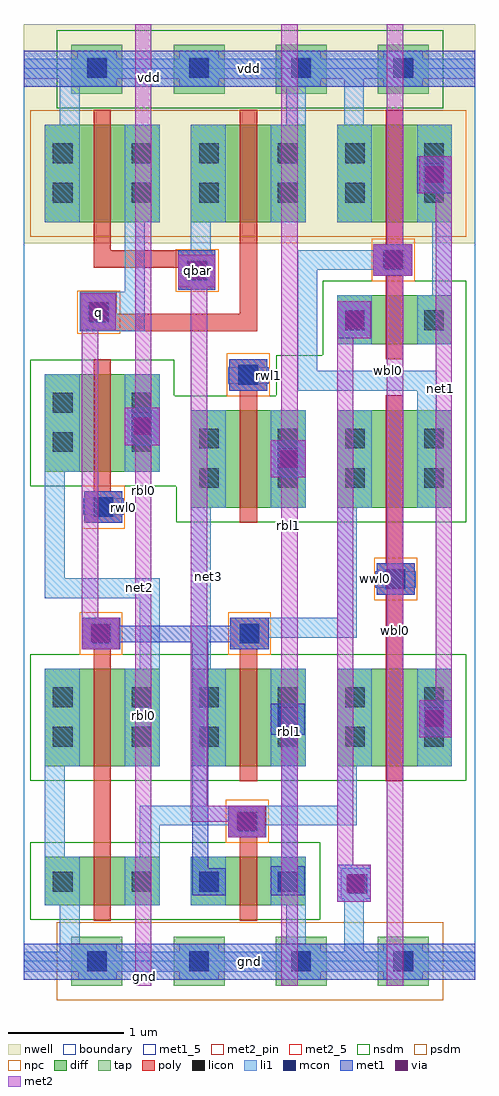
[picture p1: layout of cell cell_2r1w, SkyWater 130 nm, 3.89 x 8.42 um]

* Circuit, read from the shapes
.subckt cell_2r1w gnd net1 net2 net3 q qbar rbl0 rbl1 rwl0 rwl1 vdd wbl0 wwl0
XM1 qbar q gnd gnd sky130_fd_pr__nfet_01v8 w=0.42 l=0.15
XM2 net2 q gnd gnd sky130_fd_pr__nfet_01v8 w=0.84 l=0.15
XM3 rbl0 rwl0 net2 gnd sky130_fd_pr__nfet_01v8 w=0.84 l=0.15
XM4 gnd qbar q gnd sky130_fd_pr__nfet_01v8 w=0.42 l=0.15
XM5 gnd q net3 gnd sky130_fd_pr__nfet_01v8 w=0.84 l=0.15
XM6 rbl1 rwl1 net3 gnd sky130_fd_pr__nfet_01v8 w=0.84 l=0.15
XM7 net1 wwl0 qbar gnd sky130_fd_pr__nfet_01v8 w=0.84 l=0.15
XM8 wbl0 wwl0 q gnd sky130_fd_pr__nfet_01v8 w=0.84 l=0.15
XM9 net1 wbl0 gnd gnd sky130_fd_pr__nfet_01v8 w=0.42 l=0.15
XM10 q qbar vdd vdd sky130_fd_pr__pfet_01v8 w=0.84 l=0.15
XM11 vdd q qbar vdd sky130_fd_pr__pfet_01v8 w=0.84 l=0.15
XM12 net1 wbl0 vdd vdd sky130_fd_pr__pfet_01v8 w=0.84 l=0.15
.ends

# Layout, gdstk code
import gdstk
lib = gdstk.Library(unit=1e-6, precision=1e-09)
def R(c, l, rs):  # rectangles x0, y0, x1, y1
    for r in rs: c.add(gdstk.rectangle(r[:2], r[2:], *l))
def A(c, l, x, y, w, h, nx, ny, dx, dy):  # array of equal rectangles
    R(c, l, [(x+i*dx, y+j*dy, x+i*dx+w, y+j*dy+h) for i in range(nx) for j in range(ny)])
nwell = (64, 20)
diff = (65, 20)
tap = (65, 44)
poly = (66, 20)
licon = (66, 44)
li1 = (67, 20)
mcon = (67, 44)
met1_5 = (68, 5)
met1 = (68, 20)
via = (68, 44)
met2_5 = (69, 5)
met2_pin = (69, 16)
met2 = (69, 20)
nsdm = (93, 44)
psdm = (94, 20)
npc = (95, 20)
boundary = (235, 4)

cell_2r1w = lib.new_cell('cell_2r1w')
R(cell_2r1w, nwell, [(0,6.19,3.89,8.08)])
A(cell_2r1w, diff, 0.18, 1.68, 0.99, 0.84, 3, 2, 1.26, 4.69)
R(cell_2r1w, diff, [(0.18,0.48,1.17,0.9), (1.44,0.48,2.43,0.9), (1.44,3.91,2.43,4.75), (2.7,3.91,3.69,4.75), (0.18,4.22,1.17,5.06), (2.7,5.32,3.69,5.74)])
A(cell_2r1w, tap, 0.41, -0.21, 0.44, 0.42, 4, 2, 0.88, 7.69)
R(cell_2r1w, poly, [(0.6,0.35,0.75,2.69), (1.86,0.35,2.01,1.07), (1.76,1.07,2.09,1.34), (1.86,1.55,2.01,2.69), (3.12,1.55,3.27,3.16), (0.5,2.69,0.83,2.96), (1.78,2.69,2.11,2.96), (3.04,3.16,3.37,3.43), (3.12,3.43,3.27,4.88), (0.52,3.78,0.85,4.05), (1.86,3.78,2.01,4.92), (0.6,4.05,0.75,5.19), (1.77,4.92,2.1,5.19), (3.12,5.19,3.27,5.91), (0.48,5.43,2.01,5.58), (0.48,5.58,0.8,5.77), (1.86,5.58,2.01,7.34), (1.33,5.79,1.65,5.98), (3.01,5.91,3.35,6.18), (0.6,5.98,1.65,6.13), (0.6,6.13,0.75,7.34), (3.12,6.18,3.27,7.34)])
A(cell_2r1w, licon, 0.545, -0.085, 0.17, 0.17, 4, 2, 0.88, 7.7)
R(cell_2r1w, licon, [(0.25,0.6,0.42,0.77), (0.93,0.6,1.1,0.77), (1.51,0.6,1.68,0.77), (2.19,0.6,2.36,0.77), (1.84,1.12,2.01,1.29), (0.25,1.85,0.42,2.02), (0.93,1.85,1.1,2.02), (1.51,1.85,1.68,2.02), (2.19,1.85,2.36,2.02), (2.77,1.85,2.94,2.02), (3.45,1.85,3.62,2.02), (0.25,2.19,0.42,2.36), (0.93,2.19,1.1,2.36), (1.51,2.19,1.68,2.36), (2.19,2.19,2.36,2.36), (2.77,2.19,2.94,2.36), (3.45,2.19,3.62,2.36), (0.58,2.74,0.75,2.91), (1.86,2.74,2.03,2.91), (3.12,3.21,3.29,3.38), (0.6,3.83,0.77,4), (1.51,4.08,1.68,4.25), (2.19,4.08,2.36,4.25), (2.77,4.08,2.94,4.25), (3.45,4.08,3.62,4.25), (0.25,4.39,0.42,4.56), (0.93,4.39,1.1,4.56), (1.51,4.42,1.68,4.59), (2.19,4.42,2.36,4.59), (2.77,4.42,2.94,4.59), (3.45,4.42,3.62,4.59), (0.25,4.73,0.42,4.9), (0.93,4.73,1.1,4.9), (1.85,4.97,2.02,5.14), (2.77,5.44,2.94,5.61), (3.45,5.44,3.62,5.61), (0.56,5.51,0.73,5.68), (1.41,5.87,1.58,6.04), (3.1,5.96,3.27,6.13), (0.25,6.54,0.42,6.71), (0.93,6.54,1.1,6.71), (1.51,6.54,1.68,6.71), (2.19,6.54,2.36,6.71), (2.77,6.54,2.94,6.71), (3.45,6.54,3.62,6.71), (0.25,6.88,0.42,7.05), (0.93,6.88,1.1,7.05), (1.51,6.88,1.68,7.05), (2.19,6.88,2.36,7.05), (2.77,6.88,2.94,7.05), (3.45,6.88,3.62,7.05)])
A(cell_2r1w, li1, 1.34, -0.16, 0.34, 0.07, 3, 2, 0.88, 0.24)
A(cell_2r1w, li1, 1.34, 7.54, 0.34, 0.07, 3, 1, 0.88, 0)
A(cell_2r1w, li1, 0.46, 7.78, 0.34, 0.07, 4, 1, 0.88, 0)
R(cell_2r1w, li1, [(0.47,-0.16,0.8,-0.09), (0,-0.09,3.89,0.08), (0.31,0.08,0.8,0.15), (2.76,0.08,2.93,0.54), (0.31,0.15,0.48,0.48), (2.26,0.15,2.43,0.48), (0.18,0.48,0.48,0.9), (0.87,0.48,1.17,0.9), (1.44,0.48,1.74,0.9), (2.13,0.48,2.43,0.9), (2.73,0.54,2.99,0.8), (0.18,0.9,0.35,1.68), (1,0.9,1.17,1.17), (1.76,1.07,2.09,1.17), (1,1.17,2.87,1.34), (2.7,1.34,2.87,1.68), (0.18,1.68,0.48,2.52), (0.87,1.68,1.17,2.52), (1.44,1.68,1.74,2.52), (2.13,1.68,2.43,2.52), (2.7,1.68,3,2.52), (3.39,1.68,3.69,2.52), (1,2.52,1.17,3.13), (1.44,2.52,1.61,3.91), (0.5,2.69,0.83,2.96), (1.78,2.69,2.11,2.79), (1.78,2.79,2.87,2.96), (2.7,2.96,2.87,3.91), (0.18,3.13,1.17,3.3), (3.04,3.16,3.37,3.43), (0.18,3.3,0.35,4.22), (0.52,3.78,0.85,4.05), (1.44,3.91,1.74,4.75), (2.13,3.91,2.43,4.75), (2.7,3.91,3,4.75), (3.39,3.91,3.69,4.75), (0.18,4.22,0.48,5.06), (0.87,4.22,1.17,5.06), (3.39,4.75,3.56,4.92), (1.77,4.92,2.1,5.19), (2.36,4.92,3.56,5.09), (2.36,5.09,2.53,5.96), (2.7,5.32,3,5.74), (3.39,5.32,3.69,5.74), (0.48,5.43,1.04,5.77), (3.52,5.74,3.69,6.37), (0.87,5.77,1.04,6.37), (1.33,5.79,1.65,6.13), (3.01,5.91,3.35,5.96), (2.36,5.96,3.35,6.13), (1.44,6.13,1.61,6.37), (3.01,6.13,3.35,6.18), (0.18,6.37,0.48,7.21), (0.87,6.37,1.17,7.21), (1.44,6.37,1.74,7.21), (2.13,6.37,2.43,7.21), (2.7,6.37,3,7.21), (3.39,6.37,3.69,7.21), (0.31,7.21,0.48,7.54), (2.26,7.21,2.43,7.54), (2.76,7.21,2.93,7.61), (0.31,7.54,0.8,7.61), (0,7.61,3.89,7.78)])
A(cell_2r1w, mcon, 0.545, -0.085, 0.17, 0.17, 4, 2, 0.88, 7.7)
R(cell_2r1w, mcon, [(2.79,0.58,2.96,0.75), (1.51,0.6,1.68,0.77), (2.19,0.6,2.36,0.77), (1.84,1.12,2.01,1.29), (2.19,2.02,2.36,2.19), (3.45,2.02,3.62,2.19), (0.58,2.74,0.75,2.91), (1.86,2.74,2.03,2.91), (3.12,3.21,3.29,3.38), (0.6,3.83,0.77,4), (2.19,4.25,2.36,4.42), (0.93,4.56,1.1,4.73), (1.85,4.97,2.02,5.14), (2.77,5.44,2.94,5.61), (0.56,5.51,0.73,5.68), (1.41,5.87,1.58,6.04), (3.1,5.96,3.27,6.13), (3.45,6.71,3.62,6.88)])
R(cell_2r1w, met1_5, [(0,-0.16,3.89,0.15), (3.03,3.22,3.38,3.36), (0.51,3.85,0.86,3.99), (1.76,4.98,2.11,5.12), (0,7.54,3.89,7.85)])
R(cell_2r1w, met1, [(0,-0.16,3.89,0.15), (0,-0.16,3.89,0.15), (2.7,0.51,2.99,0.83), (1.45,0.57,1.74,0.8), (2.13,0.57,2.42,0.82), (1.45,0.8,1.59,2.75), (2.22,0.82,2.36,1.95), (1.76,1.07,2.08,1.34), (3.41,1.93,3.69,2.25), (2.13,1.95,2.42,2.22), (0.5,2.69,0.83,2.75), (1.78,2.69,2.11,2.75), (0.5,2.75,2.11,2.89), (0.5,2.89,0.83,2.96), (1.78,2.89,2.11,2.96), (3.04,3.16,3.37,3.22), (3.03,3.22,3.38,3.36), (3.03,3.22,3.38,3.36), (3.04,3.36,3.37,3.43), (0.52,3.78,0.85,3.85), (0.51,3.85,0.86,3.99), (0.51,3.85,0.86,3.99), (0.52,3.99,0.85,4.05), (2.13,4.17,2.43,4.49), (0.87,4.45,1.17,4.77), (1.77,4.92,2.1,4.98), (1.76,4.98,2.11,5.12), (1.76,4.98,2.11,5.12), (1.77,5.12,2.1,5.19), (2.7,5.37,2.99,5.69), (0.49,5.44,0.79,5.76), (1.33,5.79,1.65,6.13), (3.01,5.91,3.35,6.18), (3.39,6.62,3.69,6.94), (0,7.54,3.89,7.85), (0,7.54,3.89,7.85)])
R(cell_2r1w, via, [(2.785,0.595,2.935,0.745), (1.845,1.135,1.995,1.285), (3.465,2.015,3.615,2.165), (0.585,2.755,0.735,2.905), (2.205,4.255,2.355,4.405), (0.945,4.535,1.095,4.685), (2.775,5.455,2.925,5.605), (0.565,5.525,0.715,5.675), (1.415,5.885,1.565,6.035), (3.115,5.975,3.265,6.125), (3.465,6.705,3.615,6.855)])
R(cell_2r1w, met2_5, [(0.96,-0.21,1.1,4.45), (2.22,-0.21,2.36,4.17), (3.13,-0.21,3.27,5.91)])
R(cell_2r1w, met2_pin, [(0.56,5.51,0.73,5.68), (1.41,5.87,1.58,6.04)])
R(cell_2r1w, met2, [(0.96,-0.21,1.1,4.45), (0.96,-0.21,1.1,4.45), (2.22,-0.21,2.36,4.17), (2.22,-0.21,2.36,4.17), (3.13,-0.21,3.27,5.91), (3.13,-0.21,3.27,5.91), (2.7,0.51,2.99,0.83), (2.7,0.83,2.84,5.37), (1.76,1.07,2.08,1.2), (1.44,1.2,2.08,1.34), (1.44,1.34,1.58,5.81), (3.41,1.93,3.69,2.25), (3.55,2.25,3.69,6.62), (0.5,2.69,0.82,2.96), (0.5,2.96,0.64,5.44), (2.13,4.17,2.43,4.49), (0.87,4.45,1.17,4.77), (2.22,4.49,2.36,8.08), (0.96,4.77,1.1,8.08), (2.7,5.37,2.99,5.69), (0.49,5.44,0.79,5.76), (1.33,5.81,1.65,6.09), (3.01,5.91,3.35,6.18), (3.13,6.18,3.27,8.08), (3.41,6.62,3.69,6.94)])
R(cell_2r1w, nsdm, [(0.055,0.355,2.555,1.025), (0.055,1.555,3.815,2.645), (1.315,3.785,3.815,4.095), (0.055,4.095,3.815,4.875), (0.055,4.875,1.295,5.185), (2.175,4.875,3.815,5.225), (2.575,5.225,3.815,5.865), (0.285,7.355,3.615,8.025)])
R(cell_2r1w, psdm, [(0.285,-0.335,3.615,0.335), (0.055,6.245,3.815,7.335)])
R(cell_2r1w, npc, [(1.74,1.02,2.11,1.39), (0.48,2.64,0.85,3.01), (1.76,2.64,2.13,3.01), (3.02,3.11,3.39,3.48), (0.5,3.73,0.87,4.1), (1.75,4.87,2.12,5.24), (0.46,5.41,0.83,5.78), (1.31,5.77,1.68,6.14), (3,5.86,3.37,6.23)])
R(cell_2r1w, boundary, [(0,0,3.89,7.7)])
cell_2r1w.add(gdstk.Label('qbar', (1.495,5.955), layer=69, texttype=16))
cell_2r1w.add(gdstk.Label('net1', (3.59,4.94), layer=69, texttype=16))
cell_2r1w.add(gdstk.Label('net2', (1,3.22), layer=67, texttype=16))
cell_2r1w.add(gdstk.Label('net3', (1.59,3.32), layer=67, texttype=16))
cell_2r1w.add(gdstk.Label('q', (0.645,5.595), layer=69, texttype=16))
cell_2r1w.add(gdstk.Label('vdd', (1.08,7.62), layer=68, texttype=5))
cell_2r1w.add(gdstk.Label('gnd', (1.04,-0.13), layer=68, texttype=5))
cell_2r1w.add(gdstk.Label('rbl0', (1.03,4.06), layer=69, texttype=5))
cell_2r1w.add(gdstk.Label('rbl1', (2.28,3.76), layer=69, texttype=5))
cell_2r1w.add(gdstk.Label('wbl0', (3.14,5.09), layer=69, texttype=5))
cell_2r1w.add(gdstk.Label('wwl0', (3.03,3.3), layer=68, texttype=5))
cell_2r1w.add(gdstk.Label('rwl1', (2.11,5.05), layer=68, texttype=5))
cell_2r1w.add(gdstk.Label('rwl0', (0.86,3.91), layer=68, texttype=5))
cell_2r1w.add(gdstk.Label('rbl0', (1.03,2.12), layer=69, texttype=20))
cell_2r1w.add(gdstk.Label('rbl1', (2.29,1.98), layer=69, texttype=20))
cell_2r1w.add(gdstk.Label('wbl0', (3.2,2.85), layer=69, texttype=20))
cell_2r1w.add(gdstk.Label('rwl0', (0.685,3.92), layer=68, texttype=20))
cell_2r1w.add(gdstk.Label('rwl1', (1.935,5.05), layer=68, texttype=20))
cell_2r1w.add(gdstk.Label('wwl0', (3.205,3.29), layer=68, texttype=20))
cell_2r1w.add(gdstk.Label('vdd', (1.945,7.695), layer=68, texttype=20))
cell_2r1w.add(gdstk.Label('gnd', (1.945,-0.005), layer=68, texttype=20))

lib.write_gds('cell_2r1w.gds')
